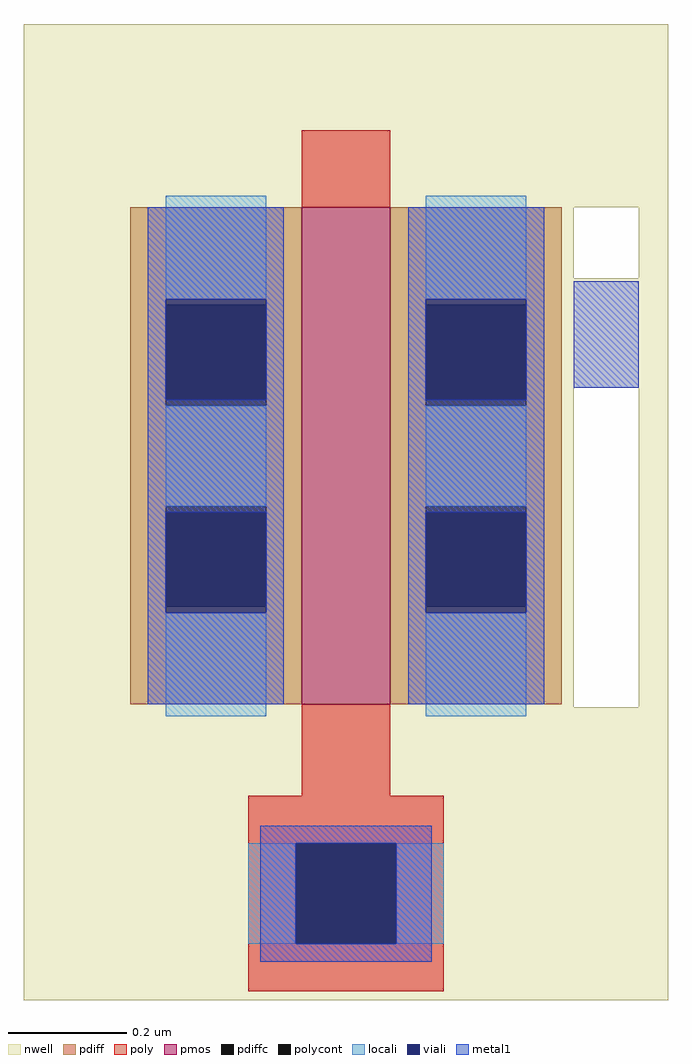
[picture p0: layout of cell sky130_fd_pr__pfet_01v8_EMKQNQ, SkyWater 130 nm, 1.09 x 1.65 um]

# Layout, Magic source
magic
tech sky130A
magscale 1 2
<< nwell >>
rect -109 120 109 182
rect -109 96 77 120
rect 99 96 109 120
rect -109 59 109 96
rect -109 -49 77 59
rect 99 -49 109 59
rect -109 -148 109 -49
<< pmos >>
rect -15 -48 15 120
<< pdiff >>
rect -73 87 -15 120
rect -73 53 -61 87
rect -27 53 -15 87
rect -73 19 -15 53
rect -73 -15 -61 19
rect -27 -15 -15 19
rect -73 -48 -15 -15
rect 15 87 73 120
rect 15 53 27 87
rect 61 53 73 87
rect 15 19 73 53
rect 15 -15 27 19
rect 61 -15 73 19
rect 15 -48 73 -15
<< pdiffc >>
rect -61 53 -27 87
rect -61 -15 -27 19
rect 27 53 61 87
rect 27 -15 61 19
<< poly >>
rect -15 120 15 146
rect -15 -79 15 -48
rect -33 -95 33 -79
rect -33 -129 -17 -95
rect 17 -129 33 -95
rect -33 -145 33 -129
<< polycont >>
rect -17 -129 17 -95
<< locali >>
rect -61 89 -27 124
rect -61 19 -27 53
rect -61 -52 -27 -17
rect 27 89 61 124
rect 27 19 61 53
rect 27 -52 61 -17
rect -33 -129 -17 -95
rect 17 -129 33 -95
<< viali >>
rect -61 87 -27 89
rect -61 55 -27 87
rect -61 -15 -27 17
rect -61 -17 -27 -15
rect 27 87 61 89
rect 27 55 61 87
rect 27 -15 61 17
rect 27 -17 61 -15
rect -17 -129 17 -95
<< metal1 >>
rect -67 89 -21 120
rect -67 55 -61 89
rect -27 55 -21 89
rect -67 17 -21 55
rect -67 -17 -61 17
rect -27 -17 -21 17
rect -67 -48 -21 -17
rect 21 89 67 120
rect 21 55 27 89
rect 61 55 67 89
rect 77 59 99 95
rect 21 17 67 55
rect 21 -17 27 17
rect 61 -17 67 17
rect 21 -48 67 -17
rect -29 -95 29 -89
rect -29 -129 -17 -95
rect 17 -129 29 -95
rect -29 -135 29 -129
<< end >>
